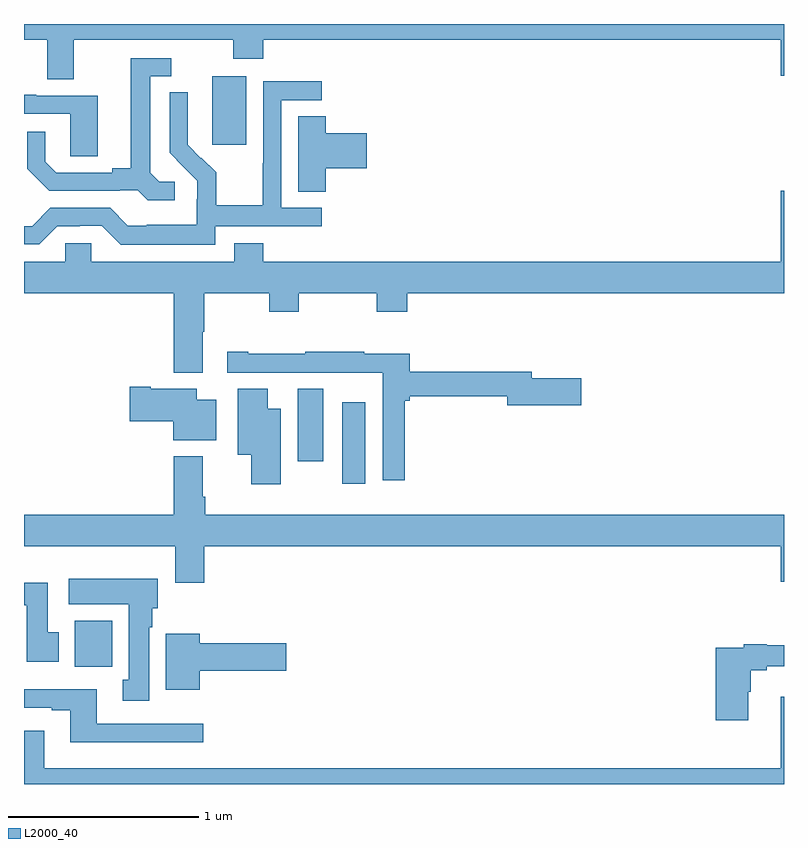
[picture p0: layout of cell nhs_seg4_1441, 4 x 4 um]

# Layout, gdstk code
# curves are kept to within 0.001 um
import gdstk
lib = gdstk.Library(unit=1e-6, precision=1e-09)
def R(c, l, rs):  # rectangles x0, y0, x1, y1
    for r in rs: c.add(gdstk.rectangle(r[:2], r[2:], *l))
def P(c, l, *ps):  # polygons
    for p in ps: c.add(gdstk.Polygon(p, *l))
L2000_40 = (2000, 40)

nhs_seg4_1441 = lib.new_cell('nhs_seg4_1441')
R(nhs_seg4_1441, L2000_40, [(185.267,797.516,185.464,797.758), (186.674,798.48,186.796,798.91), (186.44,798.6,186.574,798.98), (185.99,800.265,186.169,800.626)])
P(nhs_seg4_1441, L2000_40, [(185.263,800.816),(186.1,800.816),(186.1,800.717),(186.26,800.717),(186.26,800.816),(188.984,800.816),(188.984,800.628),(189,800.628),(189,800.9),(185,800.9),(185,800.816),(185.123,800.816),(185.123,800.608),(185.263,800.608)],
  [(185.794,800.07),(185.712,800.07),(185.665,800.117),(185.665,800.625),(185.776,800.625),(185.776,800.721),(185.561,800.721),(185.561,800.141),(185.465,800.141),(185.465,800.118),(185.17,800.118),(185.113,800.175),(185.113,800.332),(185.016,800.332),(185.016,800.138),(185.132,800.022),(185.504,800.022),(185.504,800.025),(185.598,800.025),(185.65,799.973),(185.794,799.973)],
  [(186.006,799.836),(186.568,799.836),(186.568,799.932),(186.354,799.932),(186.354,800.499),(186.568,800.499),(186.568,800.598),(186.258,800.598),(186.258,800.168),(186.256,800.168),(186.256,799.945),(186.011,799.945),(186.011,800.119),(185.934,800.196),(185.931,800.193),(185.861,800.264),(185.862,800.54),(185.766,800.54),(185.766,800.222),(185.912,800.074),(185.912,799.977),(185.91,799.977),(185.91,799.843),(185.647,799.843),(185.647,799.839),(185.547,799.839),(185.454,799.932),(185.139,799.932),(185.043,799.836),(185,799.836),(185,799.74),(185.079,799.74),(185.175,799.836),(185.294,799.836),(185.294,799.839),(185.409,799.839),(185.509,799.739),(186.006,799.739)],
  [(185.389,800.523),(185.065,800.523),(185.065,800.527),(185,800.527),(185,800.427),(185.244,800.427),(185.244,800.203),(185.389,800.203)],
  [(186.587,800.141),(186.805,800.141),(186.805,800.324),(186.587,800.324),(186.587,800.414),(186.443,800.414),(186.443,800.017),(186.587,800.017)],
  [(185.941,799.28),(185.949,799.28),(185.949,799.484),(186.292,799.484),(186.292,799.385),(186.447,799.385),(186.447,799.484),(186.856,799.484),(186.856,799.385),(187.016,799.385),(187.016,799.484),(189,799.484),(189,800.023),(188.984,800.023),(188.984,799.648),(186.26,799.648),(186.26,799.747),(186.107,799.747),(186.107,799.648),(185.355,799.648),(185.355,799.746),(185.217,799.746),(185.217,799.648),(185,799.648),(185,799.484),(185.789,799.484),(185.789,799.064),(185.941,799.064)],
  [(187.004,798.917),(187.031,798.917),(187.031,798.94),(187.544,798.94),(187.544,798.893),(187.933,798.893),(187.933,799.035),(187.672,799.035),(187.672,799.069),(187.031,799.069),(187.031,799.164),(186.791,799.164),(186.791,799.174),(186.481,799.174),(186.481,799.164),(186.181,799.164),(186.181,799.174),(186.069,799.174),(186.069,799.065),(186.678,799.065),(186.678,799.064),(186.888,799.064),(186.888,798.498),(187.004,798.498)],
  [(186.013,798.922),(185.908,798.922),(185.908,798.979),(185.668,798.979),(185.668,798.992),(185.556,798.992),(185.556,798.809),(185.786,798.809),(185.786,798.71),(186.013,798.71)],
  [(186.352,798.874),(186.283,798.874),(186.283,798.98),(186.125,798.98),(186.125,798.632),(186.197,798.632),(186.197,798.477),(186.352,798.477)],
  [(185.948,798.152),(188.984,798.152),(188.984,797.964),(189,797.964),(189,798.316),(185.954,798.316),(185.954,798.412),(185.941,798.412),(185.941,798.625),(185.789,798.625),(185.789,798.316),(185,798.316),(185,798.152),(185.795,798.152),(185.795,797.958),(185.948,797.958)],
  [(185.659,797.726),(185.674,797.726),(185.674,797.826),(185.704,797.826),(185.704,797.98),(185.235,797.98),(185.235,797.846),(185.552,797.846),(185.552,797.45),(185.519,797.45),(185.519,797.337),(185.659,797.337)],
  [(185.182,797.7),(185.125,797.7),(185.125,797.958),(185,797.958),(185,797.84),(185.015,797.84),(185.015,797.544),(185.182,797.544)],
  [(185.926,797.495),(186.379,797.495),(186.379,797.642),(185.926,797.642),(185.926,797.692),(185.747,797.692),(185.747,797.396),(185.926,797.396)],
  [(188.812,797.385),(188.825,797.385),(188.825,797.5),(188.908,797.5),(188.908,797.519),(189,797.519),(189,797.629),(188.908,797.629),(188.908,797.636),(188.788,797.636),(188.788,797.616),(188.642,797.616),(188.642,797.235),(188.812,797.235)],
  [(185.944,797.217),(185.383,797.217),(185.383,797.398),(185,797.398),(185,797.301),(185.147,797.301),(185.147,797.289),(185.243,797.289),(185.243,797.12),(185.944,797.12)],
  [(189,797.359),(188.984,797.359),(188.984,796.984),(185.107,796.984),(185.107,797.179),(185,797.179),(185,796.9),(189,796.9)])

lib.write_gds('nhs_seg4_1441.gds')
